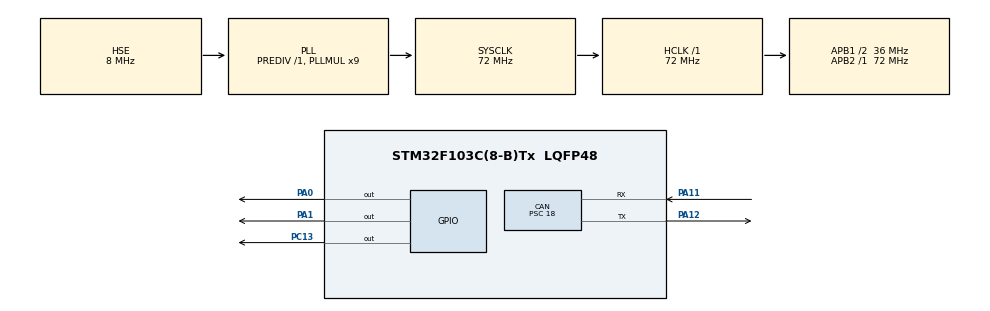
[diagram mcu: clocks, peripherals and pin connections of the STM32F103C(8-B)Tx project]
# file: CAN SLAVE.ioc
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CAN.ABOM=ENABLE
CAN.AWUM=ENABLE
CAN.BS1=CAN_BS1_2TQ
CAN.CalculateBaudRate=500000
CAN.CalculateTimeBit=2000
CAN.CalculateTimeQuantum=500.0
CAN.Prescaler=18
Mcu.Family=STM32F1
Mcu.Name=STM32F103C(8-B)Tx
Mcu.Package=LQFP48
NVIC.CAN1_RX1_IRQn=true\:0\:0\:false\:false\:true\:true\:true\:true
NVIC.PriorityGroup=NVIC_PRIORITYGROUP_4
NVIC.USB_LP_CAN1_RX0_IRQn=true\:0\:0\:false\:false\:true\:true\:true\:true
PA0-WKUP.GPIO_PuPd=GPIO_PULLUP
PA0-WKUP.Signal=GPIO_Output
PA1.GPIO_PuPd=GPIO_PULLUP
PA1.Signal=GPIO_Output
PA11.Mode=CAN_Activate
PA11.Signal=CAN_RX
PA12.Mode=CAN_Activate
PA12.Signal=CAN_TX
PA13.Mode=Serial_Wire
PA13.Signal=SYS_JTMS-SWDIO
PA14.Mode=Serial_Wire
PA14.Signal=SYS_JTCK-SWCLK
PC13-TAMPER-RTC.GPIO_PuPd=GPIO_PULLUP
PC13-TAMPER-RTC.Signal=GPIO_Output
PD0-OSC_IN.Mode=HSE-External-Oscillator
PD0-OSC_IN.Signal=RCC_OSC_IN
PD1-OSC_OUT.Mode=HSE-External-Oscillator
PD1-OSC_OUT.Signal=RCC_OSC_OUT
ProjectManager.HeapSize=0x200
ProjectManager.StackSize=0x400
ProjectManager.TargetToolchain=MDK-ARM V5.32
RCC.AHBFreq_Value=72000000
RCC.APB1CLKDivider=RCC_HCLK_DIV2
RCC.APB1Freq_Value=36000000
RCC.APB1TimFreq_Value=72000000
RCC.APB2Freq_Value=72000000
RCC.APB2TimFreq_Value=72000000
RCC.HCLKFreq_Value=72000000
RCC.PLLMUL=RCC_PLL_MUL9
RCC.PLLSourceVirtual=RCC_PLLSOURCE_HSE
RCC.SYSCLKFreq_VALUE=72000000
RCC.SYSCLKSource=RCC_SYSCLKSOURCE_PLLCLK
RCC.USBFreq_Value=72000000
board=custom

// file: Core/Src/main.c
/* USER CODE BEGIN Header */
/**
  ******************************************************************************
  * @file           : main.c
  * @brief          : Main program body
  ******************************************************************************
  * @attention
  *
  * Copyright (c) 2023 STMicroelectronics.
  * All rights reserved.
  *
  * This software is licensed under terms that can be found in the LICENSE file
  * in the root directory of this software component.
  * If no LICENSE file comes with this software, it is provided AS-IS.
  *
  ******************************************************************************
  */
/* USER CODE END Header */
#include "main.h"

/* USER CODE BEGIN Includes */
#include <stdio.h>
/* USER CODE END Includes */

/* USER CODE BEGIN PTD */
#define MASTER_ID   0x281
#define SLAVE_ID1   0x012
#define SLAVE_ID2   0x274
/* USER CODE END PTD */

CAN_HandleTypeDef hcan;

/* USER CODE BEGIN PV */
CAN_TxHeaderTypeDef 	TxHeader;
CAN_RxHeaderTypeDef 	RxHeader;
uint32_t 							TxMailbox;
uint8_t 							TxData[8];
uint8_t 							RxData[8];
uint32_t              TxMailbox;
uint8_t 							count = 0;
int 									isTransmit = 0;
int 									indx=0;
/* USER CODE END PV */

void SystemClock_Config(void);
static void MX_GPIO_Init(void);
static void MX_CAN_Init(void);
/* USER CODE BEGIN PFP */
void WriteCAN(uint8_t *data);
void ReadCAN(uint16_t ID, uint8_t *data);
/* USER CODE END PFP */

int main(void)
{

  /* MCU Configuration--------------------------------------------------------*/

  /* Reset of all peripherals, Initializes the Flash interface and the Systick. */
  HAL_Init();

  /* Configure the system clock */
  SystemClock_Config();

  /* Initialize all configured peripherals */
  MX_GPIO_Init();
  MX_CAN_Init();
  /* USER CODE BEGIN 2 */
  HAL_CAN_Start(&hcan);

  HAL_CAN_ActivateNotification(&hcan, CAN_IT_RX_FIFO0_MSG_PENDING);

  TxHeader.DLC = 8;
  TxHeader.ExtId = 0;
  TxHeader.IDE = CAN_ID_STD;
  TxHeader.RTR = CAN_RTR_DATA;
  TxHeader.StdId = SLAVE_ID1;
  TxHeader.TransmitGlobalTime = DISABLE;

  /* USER CODE END 2 */

  /* Infinite loop */
  while (1)
  {

  }
}

void SystemClock_Config(void)
{
  RCC_OscInitTypeDef RCC_OscInitStruct = {0};
  RCC_ClkInitTypeDef RCC_ClkInitStruct = {0};

  /** Initializes the RCC Oscillators according to the specified parameters
  * in the RCC_OscInitTypeDef structure.
  */
  RCC_OscInitStruct.OscillatorType = RCC_OSCILLATORTYPE_HSE;
  RCC_OscInitStruct.HSEState = RCC_HSE_ON;
  RCC_OscInitStruct.HSEPredivValue = RCC_HSE_PREDIV_DIV1;
  RCC_OscInitStruct.HSIState = RCC_HSI_ON;
  RCC_OscInitStruct.PLL.PLLState = RCC_PLL_ON;
  RCC_OscInitStruct.PLL.PLLSource = RCC_PLLSOURCE_HSE;
  RCC_OscInitStruct.PLL.PLLMUL = RCC_PLL_MUL9;
  if (HAL_RCC_OscConfig(&RCC_OscInitStruct) != HAL_OK)
  {
    Error_Handler();
  }

  /** Initializes the CPU, AHB and APB buses clocks
  */
  RCC_ClkInitStruct.ClockType = RCC_CLOCKTYPE_HCLK|RCC_CLOCKTYPE_SYSCLK
                              |RCC_CLOCKTYPE_PCLK1|RCC_CLOCKTYPE_PCLK2;
  RCC_ClkInitStruct.SYSCLKSource = RCC_SYSCLKSOURCE_PLLCLK;
  RCC_ClkInitStruct.AHBCLKDivider = RCC_SYSCLK_DIV1;
  RCC_ClkInitStruct.APB1CLKDivider = RCC_HCLK_DIV2;
  RCC_ClkInitStruct.APB2CLKDivider = RCC_HCLK_DIV1;

  if (HAL_RCC_ClockConfig(&RCC_ClkInitStruct, FLASH_LATENCY_2) != HAL_OK)
  {
    Error_Handler();
  }
}

static void MX_CAN_Init(void)
{

  hcan.Instance = CAN1;
  hcan.Init.Prescaler = 18;
  hcan.Init.Mode = CAN_MODE_NORMAL;
  hcan.Init.SyncJumpWidth = CAN_SJW_1TQ;
  hcan.Init.TimeSeg1 = CAN_BS1_2TQ;
  hcan.Init.TimeSeg2 = CAN_BS2_1TQ;
  hcan.Init.TimeTriggeredMode = DISABLE;
  hcan.Init.AutoBusOff = ENABLE;
  hcan.Init.AutoWakeUp = ENABLE;
  hcan.Init.AutoRetransmission = DISABLE;
  hcan.Init.ReceiveFifoLocked = DISABLE;
  hcan.Init.TransmitFifoPriority = DISABLE;
  if (HAL_CAN_Init(&hcan) != HAL_OK)
  {
    Error_Handler();
  }
  /* USER CODE BEGIN CAN_Init 2 */
	CAN_FilterTypeDef canfilterconfig;

  canfilterconfig.FilterActivation = CAN_FILTER_ENABLE;
  canfilterconfig.FilterBank = 10;
  canfilterconfig.FilterFIFOAssignment = CAN_RX_FIFO0;
  canfilterconfig.FilterIdHigh = 0x281<<5;
  canfilterconfig.FilterIdLow = 0x0000;
  canfilterconfig.FilterMaskIdHigh = 0x281<<5;
  canfilterconfig.FilterMaskIdLow = 0x0000;
  canfilterconfig.FilterMode = CAN_FILTERMODE_IDMASK;
  canfilterconfig.FilterScale = CAN_FILTERSCALE_32BIT;
  canfilterconfig.SlaveStartFilterBank = 13;

  HAL_CAN_ConfigFilter(&hcan, &canfilterconfig);
  /* USER CODE END CAN_Init 2 */

}

static void MX_GPIO_Init(void)
{
  GPIO_InitTypeDef GPIO_InitStruct = {0};

  /* GPIO Ports Clock Enable */
  __HAL_RCC_GPIOC_CLK_ENABLE();
  __HAL_RCC_GPIOD_CLK_ENABLE();
  __HAL_RCC_GPIOA_CLK_ENABLE();

  /*Configure GPIO pin Output Level */
  HAL_GPIO_WritePin(GPIOC, GPIO_PIN_13, GPIO_PIN_RESET);

  /*Configure GPIO pin Output Level */
  HAL_GPIO_WritePin(GPIOA, GPIO_PIN_0|GPIO_PIN_1, GPIO_PIN_RESET);

  /*Configure GPIO pin : PC13 */
  GPIO_InitStruct.Pin = GPIO_PIN_13;
  GPIO_InitStruct.Mode = GPIO_MODE_OUTPUT_PP;
  GPIO_InitStruct.Pull = GPIO_PULLUP;
  GPIO_InitStruct.Speed = GPIO_SPEED_FREQ_LOW;
  HAL_GPIO_Init(GPIOC, &GPIO_InitStruct);

  /*Configure GPIO pins : PA0 PA1 */
  GPIO_InitStruct.Pin = GPIO_PIN_0|GPIO_PIN_1;
  GPIO_InitStruct.Mode = GPIO_MODE_OUTPUT_PP;
  GPIO_InitStruct.Pull = GPIO_PULLUP;
  GPIO_InitStruct.Speed = GPIO_SPEED_FREQ_LOW;
  HAL_GPIO_Init(GPIOA, &GPIO_InitStruct);

}

/* USER CODE BEGIN 4 */
void WriteCAN(uint8_t *data)
{
	uint8_t dataOut[8];

	dataOut[0] = data[0];
	dataOut[1] = data[1];
	dataOut[2] = data[2];
	dataOut[3] = data[3];
	dataOut[4] = data[4];
	dataOut[5] = data[5];
	dataOut[6] = data[6];
	dataOut[7] = data[7];
	if (HAL_CAN_AddTxMessage(&hcan, &TxHeader, dataOut, &TxMailbox) != HAL_OK)
		  {
			  Error_Handler ();
		  }
	else isTransmit=1;
}
void HAL_CAN_RxFifo0MsgPendingCallback(CAN_HandleTypeDef *hcan)
{
	if(HAL_CAN_GetRxMessage(hcan, CAN_RX_FIFO0, &RxHeader, RxData)== HAL_OK)
	{
		if(RxHeader.StdId==MASTER_ID)
		{
			GPIOA->ODR =RxData[1]<<1|RxData[0];

		}
	}

}
/* USER CODE END 4 */

void Error_Handler(void)
{
  __disable_irq();
  while (1)
  {
  }
}
